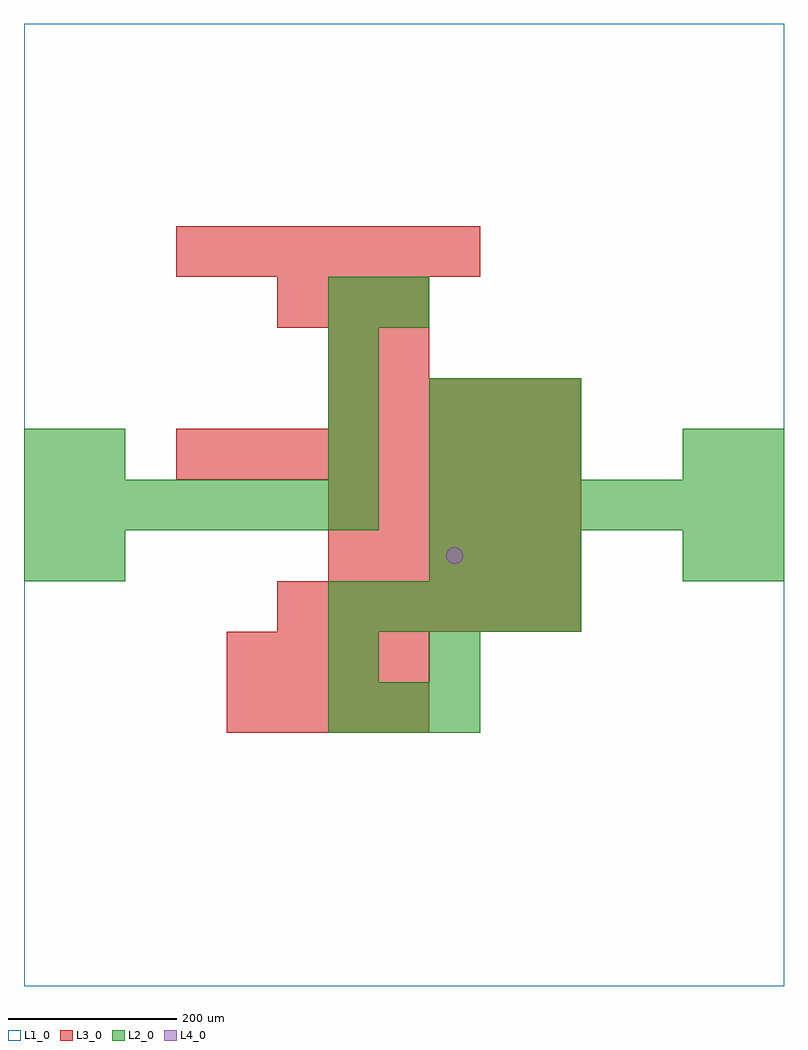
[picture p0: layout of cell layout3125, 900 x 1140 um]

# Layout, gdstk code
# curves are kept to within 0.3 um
import gdstk
lib = gdstk.Library(unit=1e-6, precision=1e-09)
def R(c, l, rs):  # rectangles x0, y0, x1, y1
    for r in rs: c.add(gdstk.rectangle(r[:2], r[2:], *l))
def A(c, l, x, y, w, h, nx, ny, dx, dy):  # array of equal rectangles
    R(c, l, [(x+i*dx, y+j*dy, x+i*dx+w, y+j*dy+h) for i in range(nx) for j in range(ny)])
def P(c, l, *ps):  # polygons
    for p in ps: c.add(gdstk.Polygon(p, *l))
L1_0 = (1, 0)
L2_0 = (2, 0)
L3_0 = (3, 0)
L4_0 = (4, 0)

layout3125 = lib.new_cell('layout3125')
R(layout3125, L1_0, [(0,0,900,1140)])
A(layout3125, L2_0, 360, 300, 60, 60, 3, 1, 60, 0)
A(layout3125, L2_0, 360, 420, 60, 60, 5, 1, 60, 0)
A(layout3125, L2_0, 480, 480, 60, 60, 3, 2, 60, 120)
A(layout3125, L2_0, 0, 540, 60, 60, 7, 1, 60, 0)
A(layout3125, L2_0, 480, 540, 60, 60, 7, 1, 60, 0)
A(layout3125, L2_0, 360, 600, 60, 60, 1, 4, 0, 60)
A(layout3125, L2_0, 480, 660, 60, 60, 3, 1, 60, 0)
R(layout3125, L2_0, [(360,360,420,420), (480,360,540,420), (0,480,60,540), (60,480,120,540), (780,480,840,540), (840,480,900,540), (0,600,60,660), (60,600,120,660), (780,600,840,660), (840,600,900,660), (420,780,480,840)])
A(layout3125, L3_0, 240, 300, 60, 60, 4, 2, 60, 60)
A(layout3125, L3_0, 300, 420, 60, 60, 6, 1, 60, 0)
A(layout3125, L3_0, 360, 480, 60, 60, 5, 2, 60, 60)
A(layout3125, L3_0, 180, 600, 60, 60, 8, 1, 60, 0)
A(layout3125, L3_0, 360, 660, 60, 60, 5, 1, 60, 0)
A(layout3125, L3_0, 300, 780, 60, 60, 3, 1, 60, 0)
A(layout3125, L3_0, 180, 840, 60, 60, 6, 1, 60, 0)
R(layout3125, L3_0, [(360,720,420,780), (420,720,480,780)])
P(layout3125, L4_0, [(520,510),(519.239,513.827),(517.071,517.071),(513.827,519.239),(510,520),(506.173,519.239),(502.929,517.071),(500.761,513.827),(500,510),(500.761,506.173),(502.929,502.929),(506.173,500.761),(510,500),(513.827,500.761),(517.071,502.929),(519.239,506.173)])

lib.write_gds('layout3125.gds')
